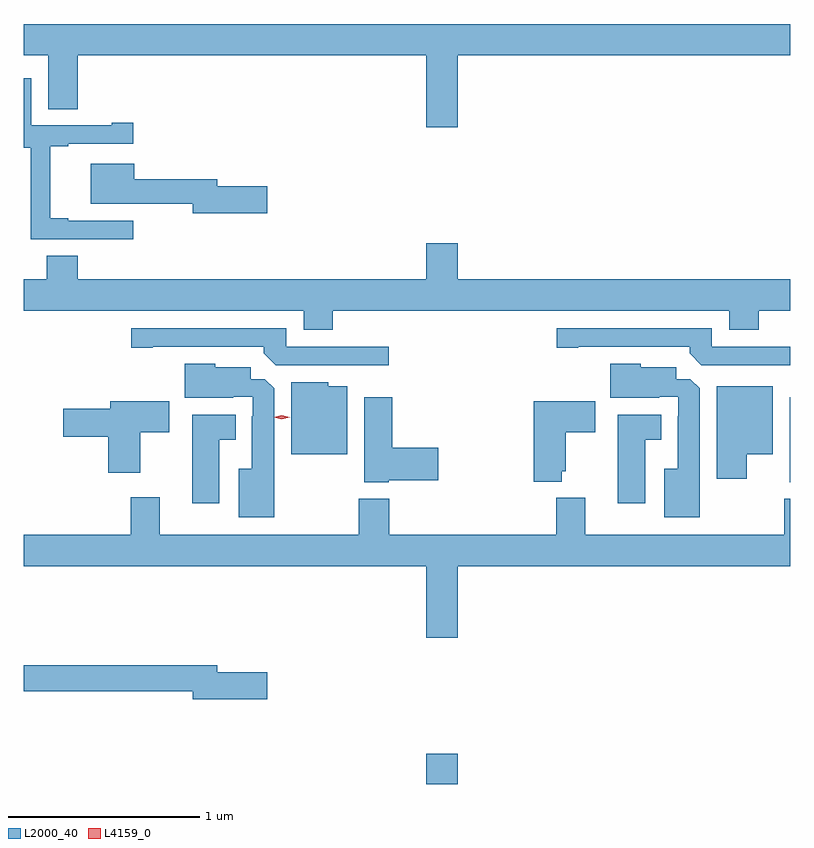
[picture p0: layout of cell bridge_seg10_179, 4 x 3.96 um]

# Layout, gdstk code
import gdstk
lib = gdstk.Library(unit=1e-6, precision=1e-09)
def R(c, l, rs):  # rectangles x0, y0, x1, y1
    for r in rs: c.add(gdstk.rectangle(r[:2], r[2:], *l))
def P(c, l, *ps):  # polygons
    for p in ps: c.add(gdstk.Polygon(p, *l))
L2000_40 = (2000, 40)
L4159_0 = (4159, 0)

bridge_seg10_179 = lib.new_cell('bridge_seg10_179')
R(bridge_seg10_179, L2000_40, [(176.996,1296.516,177.16,1296.673), (178.892,1298.089,178.896,1298.533)])
P(bridge_seg10_179, L2000_40, [(177.16,1300.316),(178.896,1300.316),(178.896,1300.48),(174.896,1300.48),(174.896,1300.316),(175.025,1300.316),(175.025,1300.036),(175.178,1300.036),(175.178,1300.316),(176.996,1300.316),(176.996,1299.942),(177.16,1299.942)],
  [(175.468,1299.453),(175.129,1299.453),(175.129,1299.466),(175.034,1299.466),(175.034,1299.843),(175.129,1299.843),(175.129,1299.855),(175.468,1299.855),(175.468,1299.964),(175.355,1299.964),(175.355,1299.951),(174.936,1299.951),(174.936,1300.197),(174.896,1300.197),(174.896,1299.835),(174.934,1299.835),(174.934,1299.357),(175.468,1299.357)],
  [(176.167,1299.635),(175.906,1299.635),(175.906,1299.671),(175.474,1299.671),(175.474,1299.751),(175.247,1299.751),(175.247,1299.542),(175.57,1299.542),(175.57,1299.543),(175.778,1299.543),(175.778,1299.493),(176.167,1299.493)],
  [(176.51,1298.984),(178.577,1298.984),(178.577,1298.885),(178.73,1298.885),(178.73,1298.984),(178.896,1298.984),(178.896,1299.148),(177.16,1299.148),(177.16,1299.337),(176.996,1299.337),(176.996,1299.148),(175.178,1299.148),(175.178,1299.272),(175.018,1299.272),(175.018,1299.148),(174.896,1299.148),(174.896,1298.984),(176.357,1298.984),(176.357,1298.885),(176.51,1298.885)],
  [(178.896,1298.796),(178.485,1298.796),(178.485,1298.892),(177.678,1298.892),(177.678,1298.791),(177.79,1298.791),(177.79,1298.796),(178.37,1298.796),(178.37,1298.762),(178.431,1298.7),(178.896,1298.7)],
  [(176.8,1298.796),(176.265,1298.796),(176.265,1298.892),(175.458,1298.892),(175.458,1298.791),(175.57,1298.791),(175.57,1298.796),(176.15,1298.796),(176.15,1298.762),(176.211,1298.7),(176.8,1298.7)],
  [(178.423,1298.579),(178.374,1298.628),(178.3,1298.628),(178.3,1298.689),(178.116,1298.689),(178.116,1298.707),(177.956,1298.707),(177.956,1298.531),(178.211,1298.531),(178.211,1298.535),(178.311,1298.535),(178.311,1298.435),(178.307,1298.435),(178.307,1298.161),(178.238,1298.161),(178.238,1297.907),(178.423,1297.907)],
  [(176.203,1298.579),(176.154,1298.628),(176.08,1298.628),(176.08,1298.689),(175.896,1298.689),(175.896,1298.707),(175.736,1298.707),(175.736,1298.531),(175.991,1298.531),(175.991,1298.535),(176.091,1298.535),(176.091,1298.435),(176.087,1298.435),(176.087,1298.161),(176.018,1298.161),(176.018,1297.907),(176.203,1297.907)],
  [(176.584,1298.59),(176.484,1298.59),(176.484,1298.611),(176.291,1298.611),(176.291,1298.237),(176.584,1298.237)],
  [(178.669,1298.237),(178.804,1298.237),(178.804,1298.59),(178.511,1298.59),(178.511,1298.109),(178.669,1298.109)],
  [(176.802,1298.099),(177.058,1298.099),(177.058,1298.27),(176.819,1298.27),(176.819,1298.533),(176.672,1298.533),(176.672,1298.09),(176.802,1298.09)],
  [(177.702,1298.147),(177.724,1298.147),(177.724,1298.35),(177.877,1298.35),(177.877,1298.512),(177.557,1298.512),(177.557,1298.093),(177.702,1298.093)],
  [(175.504,1298.35),(175.657,1298.35),(175.657,1298.512),(175.349,1298.512),(175.349,1298.474),(175.104,1298.474),(175.104,1298.327),(175.337,1298.327),(175.337,1298.139),(175.504,1298.139)],
  [(175.918,1298.312),(176.002,1298.312),(176.002,1298.443),(175.775,1298.443),(175.775,1297.98),(175.918,1297.98)],
  [(178.138,1298.312),(178.222,1298.312),(178.222,1298.443),(177.995,1298.443),(177.995,1297.98),(178.138,1297.98)],
  [(177.16,1297.652),(178.896,1297.652),(178.896,1298.004),(178.864,1298.004),(178.864,1297.816),(177.826,1297.816),(177.826,1298.008),(177.674,1298.008),(177.674,1297.816),(176.804,1297.816),(176.804,1298.005),(176.644,1298.005),(176.644,1297.816),(175.606,1297.816),(175.606,1298.011),(175.454,1298.011),(175.454,1297.816),(174.896,1297.816),(174.896,1297.652),(176.996,1297.652),(176.996,1297.278),(177.16,1297.278)],
  [(176.167,1297.1),(175.906,1297.1),(175.906,1297.136),(174.896,1297.136),(174.896,1297),(175.778,1297),(175.778,1296.958),(176.167,1296.958)])
P(bridge_seg10_179, L4159_0, [(176.243,1298.419),(176.202,1298.428),(176.202,1298.429),(176.202,1298.429),(176.243,1298.439),(176.284,1298.43),(176.284,1298.43),(176.284,1298.43)])

lib.write_gds('bridge_seg10_179.gds')
